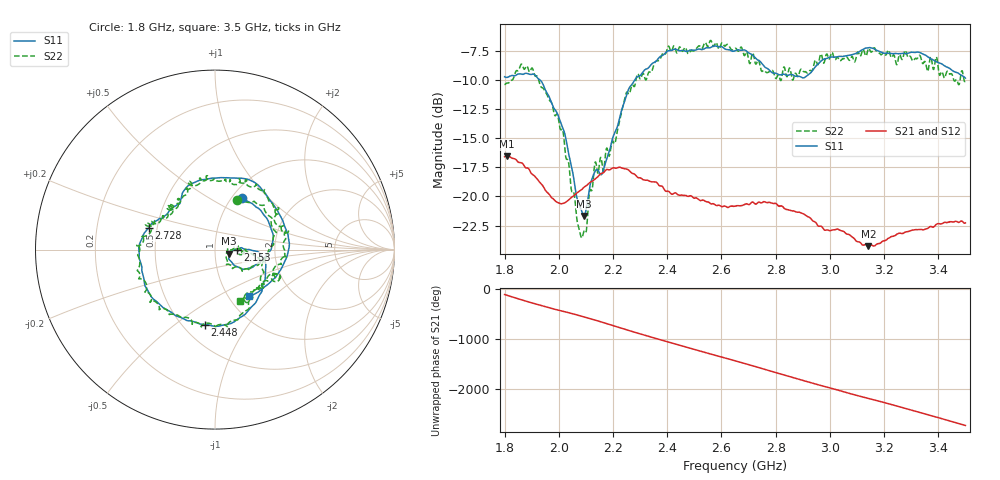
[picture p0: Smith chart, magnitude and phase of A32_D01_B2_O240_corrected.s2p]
! Created with skrf 1.9.0 (http://scikit-rf.org).
# Hz S RI R 50.0
!freq ReS11 ImS11 ReS21 ImS21 ReS12 ImS12 ReS22 ImS22
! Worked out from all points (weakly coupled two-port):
!   1601 points, 1.8 GHz to 3.5 GHz, reference 50 ohm
!   highest |S21| = -16.57 dB at 1.81 GHz (marker M1); lowest = -24.3 dB at 3.142 GHz (marker M2)
!   lowest |S11| = -21.7 dB at 2.093 GHz (marker M3), VSWR 1.18, Z = 58.6 - j2.6 ohm
!   |S11| at or under -10 dB: 1.93 GHz to 2.28 GHz (350.7 MHz wide, 16.7 % of centre)
!   |S22| runs from -23.6 to -6.6 dB; largest |S21 - S12| = 0.0029
!   S11 on the Smith chart (normalised r, x): 1.8 GHz: 1.12, +0.72; 2.153 GHz: 1.28, -0.00; 2.448 GHz: 0.64, -0.65; 2.728 GHz: 0.45, +0.13; 3.5 GHz: 1.24, -0.72
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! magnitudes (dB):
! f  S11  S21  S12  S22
! 1.8 GHz  -9.7  -16.6  -16.6  -10.4
! 1.81 GHz  -9.8  -16.6  -16.6  -10.3
! 1.881 GHz  -9.4  -17.6  -17.6  -8.8
! 1.968 GHz  -11.7  -19.9  -20.0  -11.8
! 2.014 GHz  -14.1  -20.6  -20.6  -14.3
! 2.084 GHz  -21.2  -19.4  -19.4  -23.5
! 2.093 GHz  -21.7  -19.2  -19.3  -23.0
! 2.131 GHz  -18.0  -18.6  -18.5  -17.4
! 2.153 GHz  -18.1  -18.1  -18.1  -16.8
! 2.208 GHz  -14.5  -17.6  -17.6  -15.4
! 2.26 GHz  -10.7  -17.8  -17.8  -11.2
! 2.367 GHz  -8.2  -19.0  -19.0  -8.4
! 2.448 GHz  -7.5  -19.9  -19.9  -7.2
! 2.65 GHz  -7.5  -20.8  -20.8  -7.3
! 2.728 GHz  -8.2  -20.7  -20.7  -8.7
! 2.813 GHz  -9.6  -20.8  -20.8  -9.7
! 2.934 GHz  -9.3  -22.0  -22.0  -9.2
! 2.967 GHz  -8.4  -22.6  -22.6  -7.8
! 3.142 GHz  -7.3  -24.3  -24.2  -7.3
! 3.217 GHz  -7.7  -23.6  -23.6  -7.5
! 3.331 GHz  -7.7  -22.8  -22.8  -7.9
! 3.5 GHz  -9.9  -22.3  -22.3  -10.0
